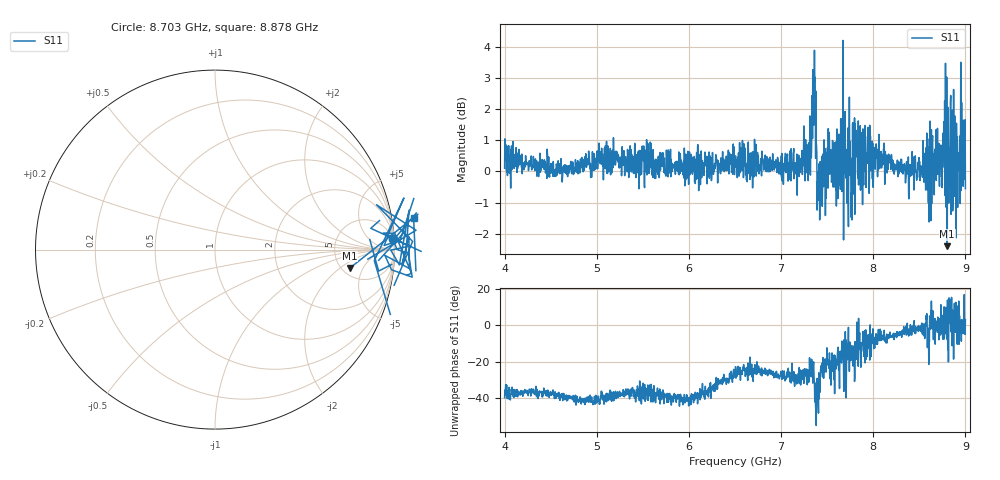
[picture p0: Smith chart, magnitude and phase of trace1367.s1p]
! Created with skrf 1.8.0 (http://scikit-rf.org).
# Hz S RI R 50.0
!freq ReS11 ImS11
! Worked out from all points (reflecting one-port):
!   1601 points, 4 GHz to 9 GHz, reference 50 ohm
!   lowest |S11| = -2.4 dB at 8.803 GHz (marker M1), VSWR 7.28, Z = 293 - j142 ohm
!   phase of S11 starts at -40 deg and turns +43 deg over the sweep
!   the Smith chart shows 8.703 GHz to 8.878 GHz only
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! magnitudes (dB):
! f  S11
! 4 GHz  0.1
! 4.625 GHz  -0.3
! 5.25 GHz  0.4
! 5.875 GHz  0.3
! 6.5 GHz  0.2
! 7.125 GHz  0.3
! 7.303 GHz  0.3
! 7.347 GHz  2.4
! 7.359 GHz  3.0
! 7.412 GHz  0.2
! 7.538 GHz  0.7
! 7.591 GHz  0.9
! 7.647 GHz  1.7
! 7.75 GHz  -0.1
! 7.775 GHz  1.5
! 7.822 GHz  0.5
! 7.909 GHz  1.1
! 7.928 GHz  0.6
! 8.375 GHz  0.0
! 8.566 GHz  -0.2
! 8.612 GHz  0.6
! 8.656 GHz  0.4
! 8.725 GHz  0.7
! 8.775 GHz  2.3
! 8.803 GHz  -2.4
! 8.919 GHz  0.5
! 8.972 GHz  0.3
! 9 GHz  -0.6
